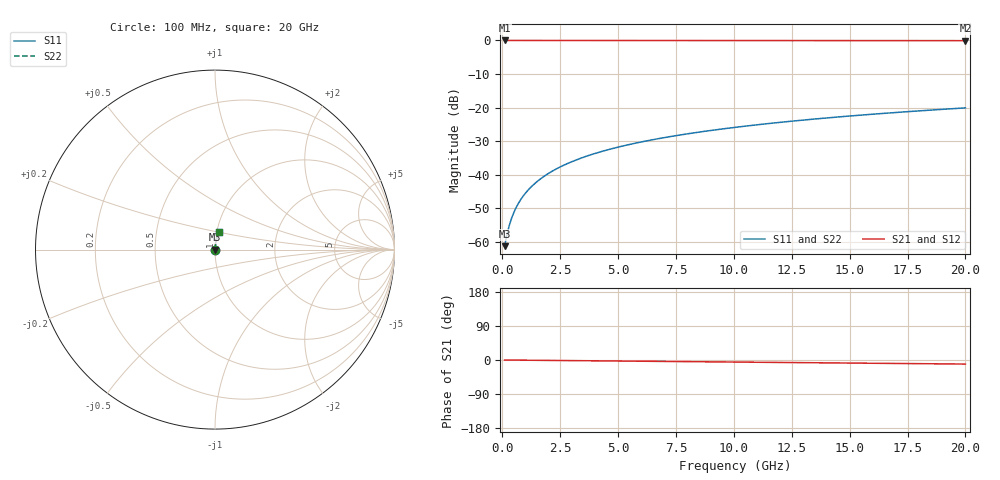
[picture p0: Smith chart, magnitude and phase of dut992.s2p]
! Touchstone file exported from HFSS 2026.1.0
!  File:  C:/ffzhzh/LocalFiles/Ansys_Project_Files/temp_train_TSV_992_1783188204_22436.aedt
!  Generated:  02:05:53 AM Jul  5, 2026
!  Design:  TSV
!  Project:  temp_train_TSV_992_1783188204_22436
! Variables:
!  h_bsmrdl = 2um
!  h_ox = 20um
!  h_rdl = 5um
!  h_sub = 90.93um
!  h_tmrdl = 5um
!  h_tsv = 90.93um
!  h_via = 3um
!  l_bsmrdl = 300um
!  l_sub = 407.98um
!  l_tmrdl = 200um
!  m_sub = 200um
!  pitch = 41.68um
!  r_tsv = 3.99um
!  s_tmrdl = 10um
!  w_bsmrdl = 18um
!  w_sub = 500um
!  w_tmrdl = 12um
!  x_tsv_center1 = 206um
!  x_tsv_center2 = 524um
!  x_tsv_center3 = 736um
!  x_tsv_center4 = 1054um
!  x_tsv_center5 = 1266um
!  x_tsv_center6 = 1584um
# GHz S MA R 50.000000
! Terminal data exported
! Port[1] = TSV1_1_T1
! Port[2] = TSV1_1_T2
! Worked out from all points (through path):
!   200 points, 100 MHz to 20 GHz, reference 50 ohm
!   highest |S21| = -0.01 dB at 100 MHz (marker M1); lowest = -0.1 dB at 20 GHz (marker M2)
!   group delay of S21, straight-line fit = 1.49 ps
!   lowest |S11| = -61.2 dB at 100 MHz (marker M3), VSWR 1.00, Z = 50.1 + j0.0542 ohm
!   |S11| at or under -10 dB: start of sweep to end of sweep
!   |S22| runs from -61.2 to -20.1 dB; largest |S21 - S12| = 2.4e-15
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0.1  0.0008686 38.5  0.9993 -0.1  0.9993 -0.1  0.0008686 38.5
! Gamma 0 0 0 0
! Port Impedance 50 0 50 0
0.2  0.001281 57.3  0.9993 -0.1  0.9993 -0.1  0.001281 57.3
0.3  0.001758 66.3  0.9993 -0.2  0.9993 -0.2  0.001758 66.3
0.4  0.002256 71.3  0.9993 -0.2  0.9993 -0.2  0.002256 71.3
0.5  0.002763 74.5  0.9993 -0.3  0.9993 -0.3  0.002763 74.5
0.6  0.003274 76.7  0.9993 -0.3  0.9993 -0.3  0.003274 76.7
0.8  0.004303 79.4  0.9992 -0.4  0.9992 -0.4  0.004303 79.4
1.1  0.005856 81.7  0.9992 -0.6  0.9992 -0.6  0.005856 81.7
1.5  0.007934 83.2  0.9991 -0.8  0.9991 -0.8  0.007934 83.2
1.8  0.009491 83.8  0.9991 -1.0  0.9991 -1.0  0.009491 83.8
2.1  0.01105 84.1  0.999 -1.2  0.999 -1.2  0.01105 84.1
2.7  0.01414 84.5  0.9989 -1.5  0.9989 -1.5  0.01414 84.5
3.5  0.01825 84.5  0.9987 -1.9  0.9987 -1.9  0.01825 84.5
4.2  0.02181 84.4  0.9985 -2.3  0.9985 -2.3  0.02181 84.4
5  0.02585 84.2  0.9983 -2.7  0.9983 -2.7  0.02585 84.2
5.9  0.03036 83.9  0.998 -3.2  0.998 -3.2  0.03036 83.9
6.8  0.03485 83.5  0.9977 -3.7  0.9977 -3.7  0.03485 83.5
8.3  0.04228 82.9  0.9972 -4.5  0.9972 -4.5  0.04228 82.9
10.1  0.05115 82.2  0.9966 -5.5  0.9966 -5.5  0.05115 82.2
13.4  0.0673 80.7  0.9953 -7.2  0.9953 -7.2  0.0673 80.7
16.7  0.0833 79.2  0.9939 -9.0  0.9939 -9.0  0.0833 79.2
20  0.09914 77.6  0.9922 -10.7  0.9922 -10.7  0.09914 77.6
